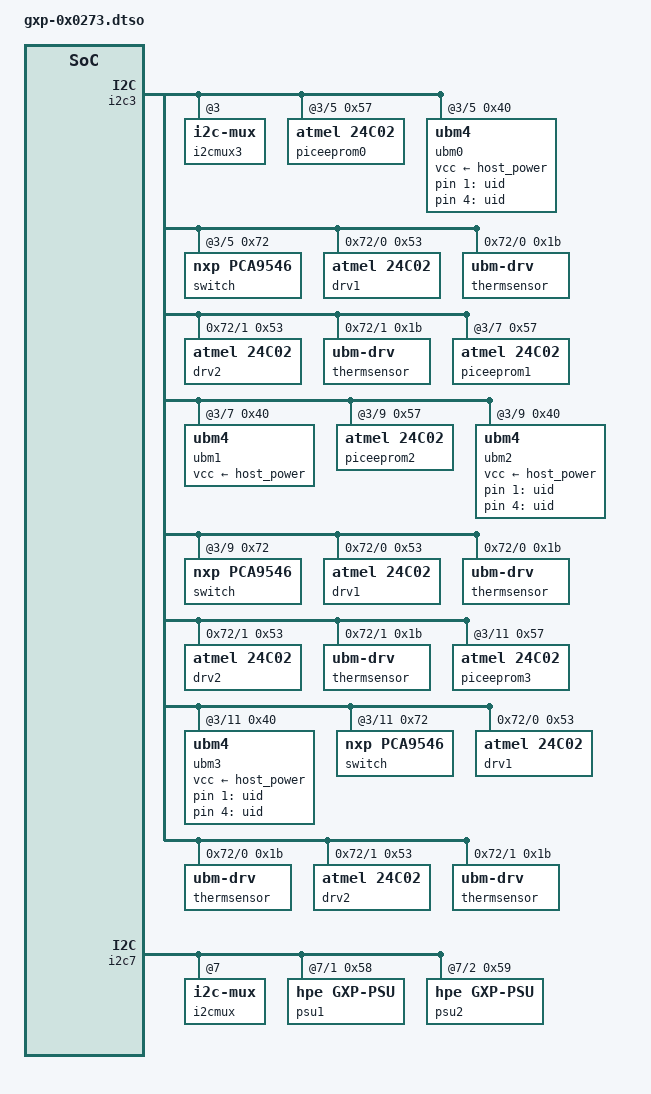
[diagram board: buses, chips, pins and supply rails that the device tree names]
// SPDX-License-Identifier: GPL-2.0
/dts-v1/;
/plugin/;
&{/} {
	model = "HPE ProLiant DL340 Gen12";
	compatible = "hpe,gxp-dl340gen12", "hpe,gxp";
};
&{/ahb@80000000} {
	i2cmux3: i2cmux@3 {
		compatible = "i2c-mux";
		i2c-parent = <&i2c3>;
		mux-controls = <&i2c_mux_ctrl 3>;
		idle-state = <0x0>;
		#address-cells = <1>;
		#size-cells = <0>;
		i2c3_5: i2c3@5 {
			reg = <5>;
			#address-cells = <1>;
			#size-cells = <0>;
			piceeprom0: piceeprom@57 {
				compatible = "atmel,24c02";
				label = "piceeprom0";
				reg = <0x57>;
			};
			ubm0: ubm@40 {
				compatible = "ubm4";
				vcc-supply = <&host_power>;
				reg = <0x40>;
			};
			switch@72 {
				compatible = "nxp,pca9546";
				#address-cells = <1>;
				#size-cells = <0>;
				reg = <0x72>;
				i2c@0 {
					#address-cells = <1>;
					#size-cells = <0>;
					reg = <0>;
					drveeprom3@53 {
						compatible = "atmel,24c02";
						label = "drv1";
						reg = <0x53>;
					};
					thermsensor@1b {
						compatible = "ubm-drv";
						uid-led = <&leddrv5>;
						reg = <0x1b>;
					};
				};
				i2c@1 {
					#address-cells = <1>;
					#size-cells = <0>;
					reg = <1>;
					drveeprom@53 {
						compatible = "atmel,24c02";
						label = "drv2";
						reg = <0x53>;
					};
					thermsensor@1b {
						compatible = "ubm-drv";
						uid-led = <&leddrv6>;
						reg = <0x1b>;
					};
				};
			};
		};
		i2c3_7: i2c3@7 {
			reg = <7>;
			#address-cells = <1>;
			#size-cells = <0>;
			piceeprom1: piceeprom@57 {
				compatible = "atmel,24c02";
				label = "piceeprom1";
				reg = <0x57>;
			};
			ubm1: ubm@40 {
				compatible = "ubm4";
				vcc-supply = <&host_power>;
				reg = <0x40>;
			};
		};
		i2c3_9: i2c3@9 {
			reg = <9>;
			#address-cells = <1>;
			#size-cells = <0>;
			piceeprom2: piceeprom@57 {
				compatible = "atmel,24c02";
				label = "piceeprom2";
				reg = <0x57>;
			};
			ubm2: ubm@40 {
				compatible = "ubm4";
				vcc-supply = <&host_power>;
				reg = <0x40>;
			};
			switch@72 {
				compatible = "nxp,pca9546";
				#address-cells = <1>;
				#size-cells = <0>;
				reg = <0x72>;
				i2c@0 {
					#address-cells = <1>;
					#size-cells = <0>;
					reg = <0>;
					drveeprom3@53 {
						compatible = "atmel,24c02";
						label = "drv1";
						reg = <0x53>;
					};
					thermsensor@1b {
						compatible = "ubm-drv";
						uid-led = <&leddrv1>;
						reg = <0x1b>;
					};
				};
				i2c@1 {
					#address-cells = <1>;
					#size-cells = <0>;
					reg = <1>;
					drveeprom@53 {
						compatible = "atmel,24c02";
						label = "drv2";
						reg = <0x53>;
					};
					thermsensor@1b {
						compatible = "ubm-drv";
						uid-led = <&leddrv2>;
						reg = <0x1b>;
					};
				};
			};
		};
		i2c3_b: i2c3@b {
			reg = <0xb>;
			#address-cells = <1>;
			#size-cells = <0>;
			piceeprom3: piceeprom@57 {
				compatible = "atmel,24c02";
				label = "piceeprom3";
				reg = <0x57>;
			};
			ubm3: ubm@40 {
				compatible = "ubm4";
				vcc-supply = <&host_power>;
				reg = <0x40>;
			};
			switch@72 {
				compatible = "nxp,pca9546";
				#address-cells = <1>;
				#size-cells = <0>;
				reg = <0x72>;
				i2c@0 {
					#address-cells = <1>;
					#size-cells = <0>;
					reg = <0>;
					drveeprom3@53 {
						compatible = "atmel,24c02";
						label = "drv1";
						reg = <0x53>;
					};
					thermsensor@1b {
						compatible = "ubm-drv";
						uid-led = <&leddrv3>;
						reg = <0x1b>;
					};
				};
				i2c@1 {
					#address-cells = <1>;
					#size-cells = <0>;
					reg = <1>;
					drveeprom@53 {
						compatible = "atmel,24c02";
						label = "drv2";
						reg = <0x53>;
					};
					thermsensor@1b {
						compatible = "ubm-drv";
						uid-led = <&leddrv4>;
						reg = <0x1b>;
					};
				};
			};
		};
	};
	i2cmux@7 {
		compatible = "i2c-mux";
		i2c-parent = <&i2c7>;
		mux-controls = <&i2c_mux_ctrl 7>;
		#address-cells = <1>;
		#size-cells = <0>;
		i2c7@1 {
			reg = <1>;
			#address-cells = <1>;
			#size-cells = <0>;
			psu1: psu@58 {
				compatible = "hpe,gxp-psu";
				reg = <0x58>;
			};
		};
		i2c7@2 {
			reg = <2>;
			#address-cells = <1>;
			#size-cells = <0>;
			psu2: psu@59 {
				compatible = "hpe,gxp-psu";
				reg = <0x59>;
			};
		};
	};
	syspower: syspower {
		compatible = "hpe,gxp-power";
		psu_phandle = <&psu1>, <&psu2>;
	};
	leddrv1: leddrv1 {
		compatible = "gpio-leds";
		uid {
			gpios = <&ubm2 1 0>;
			default-state = "off";
		};
	};
	leddrv2: leddrv2 {
		compatible = "gpio-leds";
		uid {
			gpios = <&ubm2 4 0>;
			default-state = "off";
		};
	};
	leddrv3: leddrv3 {
		compatible = "gpio-leds";
		uid {
			gpios = <&ubm3 1 0>;
			default-state = "off";
		};
	};
	leddrv4: leddrv4 {
		compatible = "gpio-leds";
		uid {
			gpios = <&ubm3 4 0>;
			default-state = "off";
		};
	};
	leddrv5: leddrv5 {
		compatible = "gpio-leds";
		uid {
			gpios = <&ubm0 1 0>;
			default-state = "off";
		};
	};
	leddrv6: leddrv6 {
		compatible = "gpio-leds";
		uid {
			gpios = <&ubm0 4 0>;
			default-state = "off";
		};
	};
};
